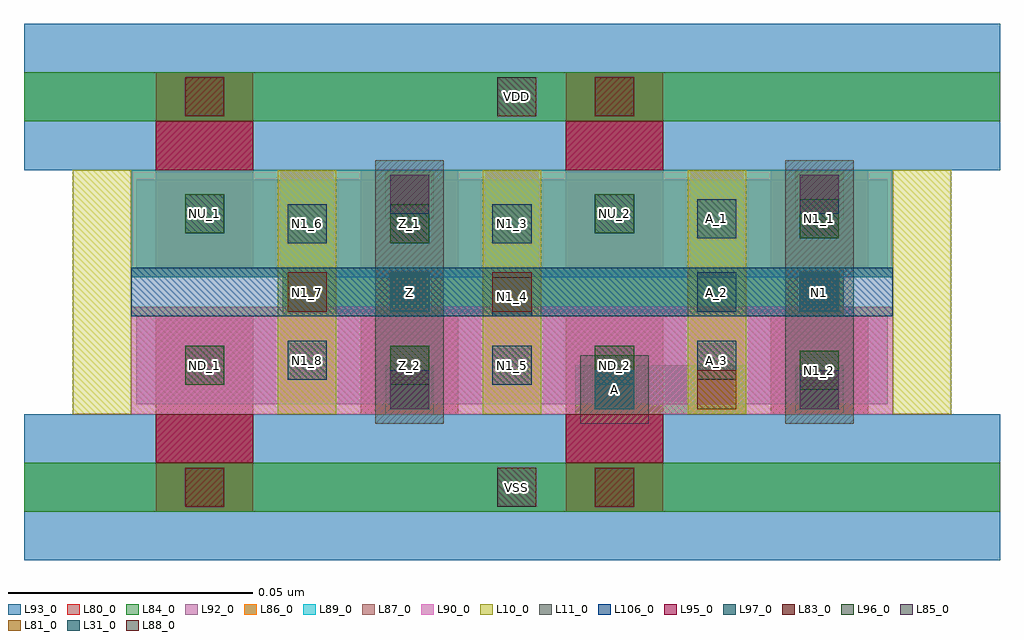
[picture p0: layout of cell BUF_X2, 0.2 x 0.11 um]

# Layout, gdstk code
import gdstk
lib = gdstk.Library(unit=1e-6, precision=1e-09)
def R(c, l, rs):  # rectangles x0, y0, x1, y1
    for r in rs: c.add(gdstk.rectangle(r[:2], r[2:], *l))
def A(c, l, x, y, w, h, nx, ny, dx, dy):  # array of equal rectangles
    R(c, l, [(x+i*dx, y+j*dy, x+i*dx+w, y+j*dy+h) for i in range(nx) for j in range(ny)])
L10_0 = (10, 0)
L11_0 = (11, 0)
L31_0 = (31, 0)
L80_0 = (80, 0)
L81_0 = (81, 0)
L83_0 = (83, 0)
L84_0 = (84, 0)
L85_0 = (85, 0)
L86_0 = (86, 0)
L87_0 = (87, 0)
L88_0 = (88, 0)
L89_0 = (89, 0)
L90_0 = (90, 0)
L92_0 = (92, 0)
L93_0 = (93, 0)
L95_0 = (95, 0)
L96_0 = (96, 0)
L97_0 = (97, 0)
L106_0 = (106, 0)

buf_x2 = lib.new_cell('BUF_X2')
A(buf_x2, L10_0, -0.027, 0.015, 0.012, 0.05, 5, 1, 0.042, 0)
R(buf_x2, L11_0, [(0.035,0.013,0.049,0.047), (0.077,0.013,0.091,0.027), (0.119,0.013,0.133,0.047), (0.035,0.033,0.049,0.067), (0.119,0.033,0.133,0.067)])
R(buf_x2, L31_0, [(0.08,0.016,0.088,0.024), (0.038,0.036,0.046,0.044), (0.122,0.036,0.13,0.044)])
A(buf_x2, L80_0, -0.01, 0.015, 0.02, 0.02, 4, 1, 0.042, 0)
R(buf_x2, L80_0, [(-0.01,-0.005,0.01,0.016), (0.074,-0.005,0.094,0.016), (-0.01,0.045,0.01,0.065), (-0.01,0.045,0.01,0.065), (0.032,0.045,0.052,0.065), (0.032,0.045,0.052,0.065), (0.074,0.045,0.094,0.065), (0.074,0.045,0.094,0.065), (0.116,0.045,0.136,0.065), (0.116,0.045,0.136,0.065), (-0.01,0.056,0.01,0.085), (0.074,0.056,0.094,0.085)])
R(buf_x2, L81_0, [(0.101,0.016,0.109,0.024), (0.017,0.036,0.025,0.044), (0.059,0.036,0.067,0.044)])
R(buf_x2, L83_0, [(-0.004,-0.004,0.004,0.004), (0.08,-0.004,0.088,0.004), (0.038,0.016,0.046,0.024), (0.122,0.016,0.13,0.024), (0.038,0.056,0.046,0.064), (0.122,0.056,0.13,0.064), (-0.004,0.076,0.004,0.084), (0.08,0.076,0.088,0.084)])
A(buf_x2, L84_0, 0.016, 0.035, 0.031, 0.01, 5, 1, 0.021, 0)
R(buf_x2, L84_0, [(-0.037,-0.005,0.163,0.005), (0.037,0.015,0.047,0.025), (0.076,0.015,0.111,0.025), (0.121,0.015,0.131,0.025), (0.037,0.055,0.047,0.065), (0.121,0.055,0.131,0.065), (-0.037,0.075,0.163,0.085)])
A(buf_x2, L85_0, 0.038, 0.016, 0.008, 0.008, 3, 1, 0.042, 0)
R(buf_x2, L85_0, [(0.122,0.036,0.13,0.044), (0.038,0.056,0.046,0.064), (0.122,0.056,0.13,0.064)])
R(buf_x2, L86_0, [(-0.015,0.043,0.141,0.065)])
R(buf_x2, L87_0, [(-0.015,0.015,0.141,0.037)])
R(buf_x2, L88_0, [(0.06,-0.004,0.068,0.004), (0.06,0.076,0.068,0.084)])
R(buf_x2, L89_0, [(-0.015,0.043,0.141,0.065)])
R(buf_x2, L90_0, [(-0.015,0.015,0.141,0.037)])
R(buf_x2, L92_0, [(-0.014,0.017,0.14,0.035), (-0.014,0.045,0.14,0.063)])
R(buf_x2, L93_0, [(-0.037,-0.015,0.163,0.015), (-0.037,0.065,0.163,0.095)])
R(buf_x2, L95_0, [(-0.01,0.005,0.01,0.015), (0.074,0.005,0.094,0.015), (-0.01,0.065,0.01,0.075), (0.074,0.065,0.094,0.075)])
A(buf_x2, L96_0, -0.004, 0.021, 0.008, 0.008, 3, 1, 0.042, 0)
R(buf_x2, L96_0, [(0.122,0.02,0.13,0.028), (0.038,0.05,0.046,0.058), (0.122,0.051,0.13,0.059), (-0.004,0.052,0.004,0.06), (0.08,0.052,0.088,0.06)])
A(buf_x2, L97_0, 0.017, 0.022, 0.008, 0.008, 1, 3, 0, 0.014)
R(buf_x2, L97_0, [(0.059,0.021,0.067,0.029), (0.101,0.022,0.109,0.03), (0.059,0.035,0.067,0.043), (0.101,0.036,0.109,0.044), (0.059,0.05,0.067,0.058), (0.101,0.051,0.109,0.059)])
R(buf_x2, L106_0, [(-0.015,0.035,0.141,0.045)])
buf_x2.add(gdstk.Label('N1_2', (0.126,0.024), layer=96, texttype=0))
buf_x2.add(gdstk.Label('N1_1', (0.126,0.055), layer=96, texttype=0))
buf_x2.add(gdstk.Label('Z_2', (0.042,0.025), layer=96, texttype=0))
buf_x2.add(gdstk.Label('Z_1', (0.042,0.054), layer=96, texttype=0))
buf_x2.add(gdstk.Label('ND_2', (0.084,0.025), layer=96, texttype=0))
buf_x2.add(gdstk.Label('ND_1', (0,0.025), layer=96, texttype=0))
buf_x2.add(gdstk.Label('NU_1', (0,0.056), layer=96, texttype=0))
buf_x2.add(gdstk.Label('NU_2', (0.084,0.056), layer=96, texttype=0))
buf_x2.add(gdstk.Label('VSS', (0.064,0), layer=88, texttype=0))
buf_x2.add(gdstk.Label('VDD', (0.064,0.08), layer=88, texttype=0))
buf_x2.add(gdstk.Label('A', (0.084,0.02), layer=31, texttype=0))
buf_x2.add(gdstk.Label('N1', (0.126,0.04), layer=31, texttype=0))
buf_x2.add(gdstk.Label('Z', (0.042,0.04), layer=31, texttype=0))
buf_x2.add(gdstk.Label('A_3', (0.105,0.026), layer=97, texttype=0))
buf_x2.add(gdstk.Label('A_1', (0.105,0.055), layer=97, texttype=0))
buf_x2.add(gdstk.Label('A_2', (0.105,0.04), layer=97, texttype=0))
buf_x2.add(gdstk.Label('N1_5', (0.063,0.025), layer=97, texttype=0))
buf_x2.add(gdstk.Label('N1_3', (0.063,0.054), layer=97, texttype=0))
buf_x2.add(gdstk.Label('N1_4', (0.063,0.039), layer=97, texttype=0))
buf_x2.add(gdstk.Label('N1_8', (0.021,0.026), layer=97, texttype=0))
buf_x2.add(gdstk.Label('N1_6', (0.021,0.054), layer=97, texttype=0))
buf_x2.add(gdstk.Label('N1_7', (0.021,0.04), layer=97, texttype=0))

lib.write_gds('BUF_X2.gds')
